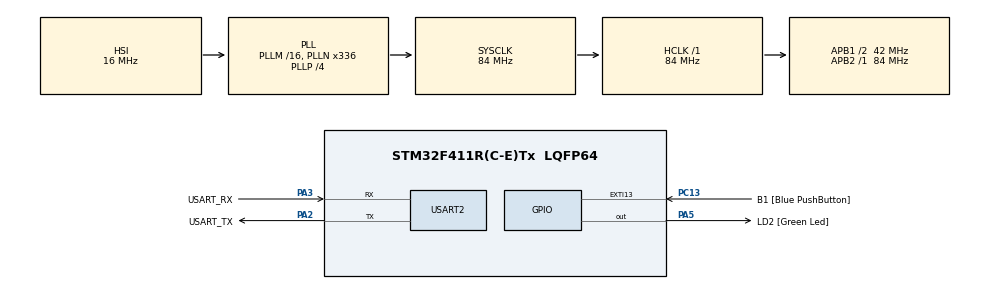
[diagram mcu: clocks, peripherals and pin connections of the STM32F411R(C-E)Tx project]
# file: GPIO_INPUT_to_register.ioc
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Mcu.Family=STM32F4
Mcu.Name=STM32F411R(C-E)Tx
Mcu.Package=LQFP64
NVIC.PriorityGroup=NVIC_PRIORITYGROUP_0
PA13.GPIO_Label=TMS
PA13.Mode=Serial_Wire
PA13.Signal=SYS_JTMS-SWDIO
PA14.GPIO_Label=TCK
PA14.Mode=Serial_Wire
PA14.Signal=SYS_JTCK-SWCLK
PA2.GPIO_Label=USART_TX
PA2.Mode=Asynchronous
PA2.Signal=USART2_TX
PA3.GPIO_Label=USART_RX
PA3.Mode=Asynchronous
PA3.Signal=USART2_RX
PA5.GPIO_Label=LD2 [Green Led]
PA5.Signal=GPIO_Output
PB3.GPIO_Label=SWO
PB3.Signal=SYS_JTDO-SWO
PC13-ANTI_TAMP.GPIO_Label=B1 [Blue PushButton]
PC13-ANTI_TAMP.GPIO_ModeDefaultEXTI=GPIO_MODE_IT_FALLING
PC13-ANTI_TAMP.Signal=GPXTI13
PC14-OSC32_IN.Mode=LSE-External-Oscillator
PC14-OSC32_IN.Signal=RCC_OSC32_IN
PC15-OSC32_OUT.Mode=LSE-External-Oscillator
PC15-OSC32_OUT.Signal=RCC_OSC32_OUT
PH0\ -\ OSC_IN.Mode=HSE-External-Clock-Source
PH0\ -\ OSC_IN.Signal=RCC_OSC_IN
PH1\ -\ OSC_OUT.Mode=HSE-External-Clock-Source
PH1\ -\ OSC_OUT.Signal=RCC_OSC_OUT
ProjectManager.HeapSize=0x200
ProjectManager.StackSize=0x400
ProjectManager.TargetToolchain=STM32CubeIDE
RCC.48MHZClocksFreq_Value=84000000
RCC.AHBFreq_Value=84000000
RCC.APB1CLKDivider=RCC_HCLK_DIV2
RCC.APB1Freq_Value=42000000
RCC.APB1TimFreq_Value=84000000
RCC.APB2Freq_Value=84000000
RCC.APB2TimFreq_Value=84000000
RCC.CortexFreq_Value=84000000
RCC.FLatency-AdvancedSettings=FLASH_LATENCY_2
RCC.HCLKFreq_Value=84000000
RCC.HSE_VALUE=8000000
RCC.HSI_VALUE=16000000
RCC.PLLN=336
RCC.PLLP=RCC_PLLP_DIV4
RCC.SYSCLKFreq_VALUE=84000000
RCC.SYSCLKSource=RCC_SYSCLKSOURCE_PLLCLK
RCC.VCOOutputFreq_Value=336000000
USART2.VirtualMode=VM_ASYNC
board=NUCLEO-F411RE

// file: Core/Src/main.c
/* USER CODE BEGIN Header */
/**
  ******************************************************************************
  * @file           : main.c
  * @brief          : Main program body
  ******************************************************************************
  * @attention
  *
  * Copyright (c) 2025 STMicroelectronics.
  * All rights reserved.
  *
  * This software is licensed under terms that can be found in the LICENSE file
  * in the root directory of this software component.
  * If no LICENSE file comes with this software, it is provided AS-IS.
  *
  ******************************************************************************
  */
/* USER CODE END Header */
#include "main.h"

/* USER CODE BEGIN Includes */
#define rRCC_AHB1ENR *(volatile unsigned *)0x40023830
#define rGPIOC_MODER *(volatile unsigned *)0x40020800
#define rGPIOC_OTYPER *(volatile unsigned *)0x40020804
#define rGPIOC_OSPEEDR *(volatile unsigned *)0x40020808
#define rGPIOC_PUPDR *(volatile unsigned *)0x4002080C
#define rGPIOC_ODR *(volatile unsigned *)0x40020814

#define rGPIOB_MODER *(volatile unsigned *)0x40020400
#define rGPIOB_OTYPER *(volatile unsigned *)0x40020404
#define rGPIOB_PUPDR *(volatile unsigned *)0x4002040C
#define rGPIOB_IDR *(volatile unsigned *)0x40020410
/* USER CODE END Includes */

UART_HandleTypeDef huart2;

void SystemClock_Config(void);
static void MX_GPIO_Init(void);
static void MX_USART2_UART_Init(void);

/* USER CODE BEGIN 0 */
static void delay_int_count(volatile unsigned int nTime)
{
	for(;nTime>0;nTime--);
}
/* USER CODE END 0 */

int main(void)
{

  /* USER CODE BEGIN 1 */
	int indata = 0;
	rRCC_AHB1ENR |= (1<<2)|(1<<1);
	rGPIOC_MODER |= (1<<14 | 1<<12 | 1<<10 | 1<<8 | 1<<6 | 1<<4 | 1<<2 | 1);
	rGPIOC_OTYPER = 0x00000000;
	rGPIOC_OSPEEDR = 0x00000000;
	rGPIOC_PUPDR = 0x00000000;
	rGPIOB_MODER = 0x00;	//입력 핀
  /* USER CODE END 1 */

  /* MCU Configuration--------------------------------------------------------*/

  /* Reset of all peripherals, Initializes the Flash interface and the Systick. */
  HAL_Init();

  /* Configure the system clock */
  SystemClock_Config();

  /* Initialize all configured peripherals */
  MX_GPIO_Init();
  MX_USART2_UART_Init();

  /* Infinite loop */
  /* USER CODE BEGIN WHILE */
  while (1)
  {
	  indata = (rGPIOB_IDR & 0x03);

	  if(indata == 0x01)	//sw1에 'high'입력시 led1 ~led4 ON
	  {
		  rGPIOC_ODR=0x0f;
		  delay_int_count(900000);
	  }
	  else
		  rGPIOC_ODR = 0x00;

	  if(indata == 0x02)	//sw2에 'high' 입력시 led5 ~ 8 'ON'
	  {
		  rGPIOC_ODR = 0xf0;
		  delay_int_count(900000);
	  }
	  else
		  rGPIOC_ODR=0x00;
    /* USER CODE END WHILE */

  }
}

void SystemClock_Config(void)
{
  RCC_OscInitTypeDef RCC_OscInitStruct = {0};
  RCC_ClkInitTypeDef RCC_ClkInitStruct = {0};

  /** Configure the main internal regulator output voltage
  */
  __HAL_RCC_PWR_CLK_ENABLE();
  __HAL_PWR_VOLTAGESCALING_CONFIG(PWR_REGULATOR_VOLTAGE_SCALE1);

  /** Initializes the RCC Oscillators according to the specified parameters
  * in the RCC_OscInitTypeDef structure.
  */
  RCC_OscInitStruct.OscillatorType = RCC_OSCILLATORTYPE_HSI;
  RCC_OscInitStruct.HSIState = RCC_HSI_ON;
  RCC_OscInitStruct.HSICalibrationValue = RCC_HSICALIBRATION_DEFAULT;
  RCC_OscInitStruct.PLL.PLLState = RCC_PLL_ON;
  RCC_OscInitStruct.PLL.PLLSource = RCC_PLLSOURCE_HSI;
  RCC_OscInitStruct.PLL.PLLM = 16;
  RCC_OscInitStruct.PLL.PLLN = 336;
  RCC_OscInitStruct.PLL.PLLP = RCC_PLLP_DIV4;
  RCC_OscInitStruct.PLL.PLLQ = 4;
  if (HAL_RCC_OscConfig(&RCC_OscInitStruct) != HAL_OK)
  {
    Error_Handler();
  }

  /** Initializes the CPU, AHB and APB buses clocks
  */
  RCC_ClkInitStruct.ClockType = RCC_CLOCKTYPE_HCLK|RCC_CLOCKTYPE_SYSCLK
                              |RCC_CLOCKTYPE_PCLK1|RCC_CLOCKTYPE_PCLK2;
  RCC_ClkInitStruct.SYSCLKSource = RCC_SYSCLKSOURCE_PLLCLK;
  RCC_ClkInitStruct.AHBCLKDivider = RCC_SYSCLK_DIV1;
  RCC_ClkInitStruct.APB1CLKDivider = RCC_HCLK_DIV2;
  RCC_ClkInitStruct.APB2CLKDivider = RCC_HCLK_DIV1;

  if (HAL_RCC_ClockConfig(&RCC_ClkInitStruct, FLASH_LATENCY_2) != HAL_OK)
  {
    Error_Handler();
  }
}

static void MX_USART2_UART_Init(void)
{

  huart2.Instance = USART2;
  huart2.Init.BaudRate = 115200;
  huart2.Init.WordLength = UART_WORDLENGTH_8B;
  huart2.Init.StopBits = UART_STOPBITS_1;
  huart2.Init.Parity = UART_PARITY_NONE;
  huart2.Init.Mode = UART_MODE_TX_RX;
  huart2.Init.HwFlowCtl = UART_HWCONTROL_NONE;
  huart2.Init.OverSampling = UART_OVERSAMPLING_16;
  if (HAL_UART_Init(&huart2) != HAL_OK)
  {
    Error_Handler();
  }

}

static void MX_GPIO_Init(void)
{
  GPIO_InitTypeDef GPIO_InitStruct = {0};

  /* GPIO Ports Clock Enable */
  __HAL_RCC_GPIOC_CLK_ENABLE();
  __HAL_RCC_GPIOH_CLK_ENABLE();
  __HAL_RCC_GPIOA_CLK_ENABLE();
  __HAL_RCC_GPIOB_CLK_ENABLE();

  /*Configure GPIO pin Output Level */
  HAL_GPIO_WritePin(LD2_GPIO_Port, LD2_Pin, GPIO_PIN_RESET);

  /*Configure GPIO pin : B1_Pin */
  GPIO_InitStruct.Pin = B1_Pin;
  GPIO_InitStruct.Mode = GPIO_MODE_IT_FALLING;
  GPIO_InitStruct.Pull = GPIO_NOPULL;
  HAL_GPIO_Init(B1_GPIO_Port, &GPIO_InitStruct);

  /*Configure GPIO pin : LD2_Pin */
  GPIO_InitStruct.Pin = LD2_Pin;
  GPIO_InitStruct.Mode = GPIO_MODE_OUTPUT_PP;
  GPIO_InitStruct.Pull = GPIO_NOPULL;
  GPIO_InitStruct.Speed = GPIO_SPEED_FREQ_LOW;
  HAL_GPIO_Init(LD2_GPIO_Port, &GPIO_InitStruct);

}

void Error_Handler(void)
{
  __disable_irq();
  while (1)
  {
  }
}
